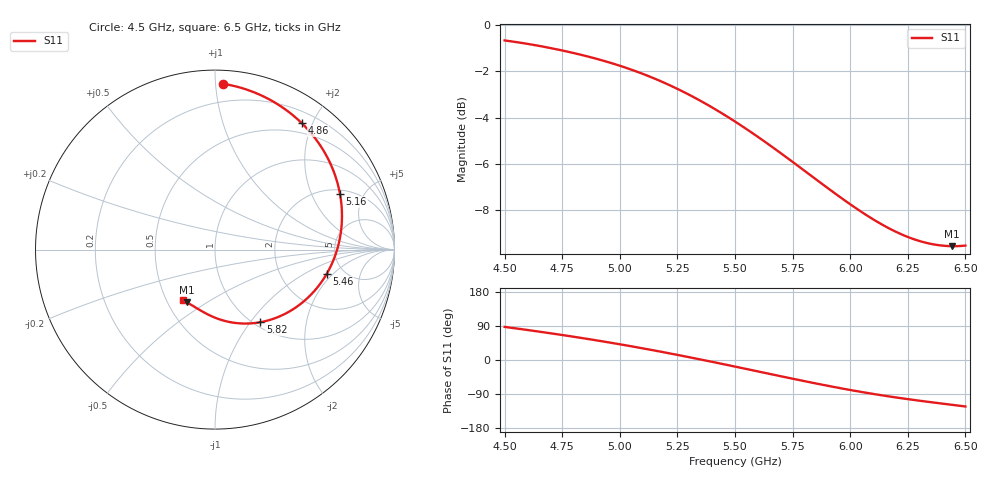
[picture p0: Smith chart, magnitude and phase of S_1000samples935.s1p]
! TOUCHSTONE file generated by CST MICROWAVE STUDIO
! Date and time: Sat Oct 29 20:41:12 2022
! Project name: L.cst
! Parameters = {Di=1.27; Epsilon_r=1.56; InnerDiameter=1.27; Length=2; Lf=10; Lg=60; OuterConductorThickness=0.2921; OuterDiameter=3.6; Wf=3; Wp=41.2; de=1.5; df=6.8; g=0.8; gx=2.10494; gy=3.48625; h=2.34; hf=1.524; px=11.7003; py=9.86294; w=9.7; wx=9.5954; wy=6.37669}
! Header version: 2018
! Port assignment regex: !\s*Touchstone port\s*([0-9]+)\s*=\s*(CST MWS port|CST DS port)\s*([0-9]+|Zmin|Zmax)\s*\(\"(.*)\"\)(\s*mode\s*([0-9]+))?.*
! Touchstone port assignment:
! Touchstone port 1 = CST MWS port 1 ("")
# GHz S DB R 50
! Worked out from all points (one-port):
!   101 points, 4.5 GHz to 6.5 GHz, reference 50 ohm
!   lowest |S11| = -9.5 dB at 6.44 GHz (marker M1), VSWR 2.00, Z = 31.2 - j20.6 ohm
!   |S11| at or under -10 dB: nowhere
!   S11 on the Smith chart (normalised r, x): 4.5 GHz: 0.08, +1.04; 4.86 GHz: 0.35, +1.84; 5.16 GHz: 2.23, +3.29; 5.46 GHz: 3.69, -1.68; 5.82 GHz: 1.07, -1.12; 6.5 GHz: 0.60, -0.38
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4.5  -0.68 87.4
4.58  -0.79 80.8
4.64  -0.89 75.7
4.7  -1.01 70.4
4.76  -1.13 65.0
4.86  -1.37 55.6
4.92  -1.53 49.7
5  -1.77 41.5
5.08  -2.04 32.9
5.16  -2.36 24.0
5.22  -2.62 17.0
5.26  -2.81 12.3
5.3  -3.01 7.5
5.36  -3.34 0.2
5.46  -3.92 -12.3
5.5  -4.17 -17.4
5.58  -4.70 -27.6
5.64  -5.12 -35.3
5.7  -5.55 -43.0
5.76  -5.99 -50.6
5.82  -6.43 -58.1
5.9  -7.03 -67.7
6  -7.74 -79.1
6.12  -8.51 -91.5
6.26  -9.19 -104.1
6.36  -9.47 -112.1
6.44  -9.55 -118.1
6.5  -9.52 -122.7
